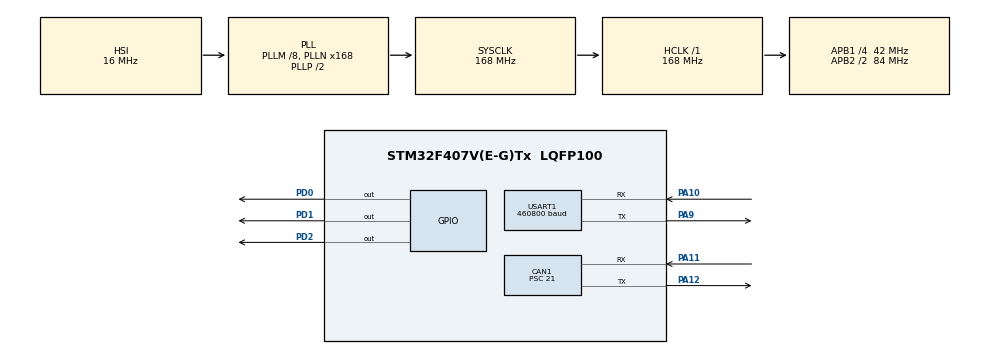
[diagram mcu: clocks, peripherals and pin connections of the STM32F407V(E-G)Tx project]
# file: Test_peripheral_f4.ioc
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CAN1.BS1=CAN_BS1_13TQ
CAN1.BS2=CAN_BS2_2TQ
CAN1.CalculateBaudRate=125000
CAN1.CalculateTimeBit=8000
CAN1.CalculateTimeQuantum=500.0
CAN1.Mode=CAN_MODE_NORMAL
CAN1.Prescaler=21
Mcu.Family=STM32F4
Mcu.Name=STM32F407V(E-G)Tx
Mcu.Package=LQFP100
NVIC.CAN1_RX0_IRQn=true\:0\:0\:false\:false\:true\:true\:true\:true
NVIC.CAN1_RX1_IRQn=true\:0\:0\:false\:false\:true\:true\:true\:true
NVIC.PriorityGroup=NVIC_PRIORITYGROUP_4
PA10.Mode=Asynchronous
PA10.Signal=USART1_RX
PA11.Mode=CAN_Activate
PA11.Signal=CAN1_RX
PA12.Mode=CAN_Activate
PA12.Signal=CAN1_TX
PA13.Mode=Serial_Wire
PA13.Signal=SYS_JTMS-SWDIO
PA14.Mode=Serial_Wire
PA14.Signal=SYS_JTCK-SWCLK
PA9.Mode=Asynchronous
PA9.Signal=USART1_TX
PD0.GPIO_Speed=GPIO_SPEED_FREQ_HIGH
PD0.Signal=GPIO_Output
PD1.GPIO_Speed=GPIO_SPEED_FREQ_HIGH
PD1.Signal=GPIO_Output
PD2.GPIO_Speed=GPIO_SPEED_FREQ_HIGH
PD2.Signal=GPIO_Output
PH0-OSC_IN.Mode=HSE-External-Oscillator
PH0-OSC_IN.Signal=RCC_OSC_IN
PH1-OSC_OUT.Mode=HSE-External-Oscillator
PH1-OSC_OUT.Signal=RCC_OSC_OUT
ProjectManager.HeapSize=0x200
ProjectManager.StackSize=0x400
ProjectManager.TargetToolchain=STM32CubeIDE
RCC.48MHZClocksFreq_Value=84000000
RCC.AHBFreq_Value=168000000
RCC.APB1CLKDivider=RCC_HCLK_DIV4
RCC.APB1Freq_Value=42000000
RCC.APB1TimFreq_Value=84000000
RCC.APB2CLKDivider=RCC_HCLK_DIV2
RCC.APB2Freq_Value=84000000
RCC.APB2TimFreq_Value=168000000
RCC.CortexFreq_Value=168000000
RCC.HCLKFreq_Value=168000000
RCC.HSE_VALUE=25000000
RCC.HSI_VALUE=16000000
RCC.LSE_VALUE=32768
RCC.PLLM=8
RCC.PLLN=168
RCC.SYSCLKFreq_VALUE=168000000
RCC.SYSCLKSource=RCC_SYSCLKSOURCE_PLLCLK
RCC.VCOOutputFreq_Value=336000000
USART1.BaudRate=460800
USART1.VirtualMode=VM_ASYNC
board=custom

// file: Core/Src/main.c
/* USER CODE BEGIN Header */
/**
  ******************************************************************************
  * @file           : main.c
  * @brief          : Main program body
  ******************************************************************************
  * @attention
  *
  * Copyright (c) 2025 STMicroelectronics.
  * All rights reserved.
  *
  * This software is licensed under terms that can be found in the LICENSE file
  * in the root directory of this software component.
  * If no LICENSE file comes with this software, it is provided AS-IS.
  *
  ******************************************************************************
  */
/* USER CODE END Header */
#include "main.h"

CAN_HandleTypeDef hcan1;

UART_HandleTypeDef huart1;

void SystemClock_Config(void);
static void MX_GPIO_Init(void);
static void MX_CAN1_Init(void);
static void MX_USART1_UART_Init(void);
/* USER CODE BEGIN PFP */
void Write_Input_IC_TEST(uint8_t data1, uint8_t data2, uint8_t data3);
/* USER CODE END PFP */

/* USER CODE BEGIN 0 */

CAN_TxHeaderTypeDef TxHeader;
CAN_RxHeaderTypeDef RxHeader;

uint8_t TxData[8];
uint8_t RxData[8];

uint32_t TxMailbox;

uint8_t ena = 0;
uint8_t RxCAn = 0;

/* USER CODE END 0 */

int main(void)
{

  /* MCU Configuration--------------------------------------------------------*/

  /* Reset of all peripherals, Initializes the Flash interface and the Systick. */
  HAL_Init();

  /* Configure the system clock */
  SystemClock_Config();

  /* Initialize all configured peripherals */
  MX_GPIO_Init();
  MX_CAN1_Init();
  MX_USART1_UART_Init();
  /* USER CODE BEGIN 2 */

  HAL_CAN_Start(&hcan1);

  // Active the notification
  HAL_CAN_ActivateNotification(&hcan1, CAN_IT_RX_FIFO1_MSG_PENDING);

  TxHeader.DLC = 2; // data length
  TxHeader.IDE = CAN_ID_STD;
  TxHeader.RTR = CAN_RTR_DATA;
  //TxHeader.StdId = 0x407; // ID of sender
  TxHeader.StdId = 0x407; // ID of sender

  // Data Transmit
  TxData[0] = 200;
  TxData[1] = 5;

  HAL_Delay(1000);
  HAL_CAN_AddTxMessage(&hcan1, &TxHeader, TxData, &TxMailbox);

  // Write_Input_IC_TEST(0x00,0x00,0x80);

  /* USER CODE END 2 */

  /* Infinite loop */
  while (1)
  {

    /* USER CODE BEGIN 3 */
	  HAL_CAN_GetRxMessage(&hcan1, CAN_RX_FIFO1, &RxHeader, RxData);
 	  if (RxData[0] != 0) {
		  TxData[0] = 1;
	  }
//	  if (RxCAn == 1) {
//		  TxData[0] = RxData[0] + 200;
//		  TxData[1] = RxData[1] + 5;
//		  // for(uint8_t i = 0; i < RxData[1]; i++) {
//			//   HAL_GPIO_TogglePin(GPIOD, GPIO_PIN_2);
//			//   HAL_Delay(RxData[0]);
//		  }

		  // TxData[0] = RxData[0];
		  // TxData[1] = RxData[1];
//		   HAL_Delay(2000);
//		   HAL_CAN_AddTxMessage(&hcan1, &TxHeader, TxData, &TxMailbox);
	  // }

  }
  /* USER CODE END 3 */
}

void SystemClock_Config(void)
{
  RCC_OscInitTypeDef RCC_OscInitStruct = {0};
  RCC_ClkInitTypeDef RCC_ClkInitStruct = {0};

  /** Configure the main internal regulator output voltage
  */
  __HAL_RCC_PWR_CLK_ENABLE();
  __HAL_PWR_VOLTAGESCALING_CONFIG(PWR_REGULATOR_VOLTAGE_SCALE1);

  /** Initializes the RCC Oscillators according to the specified parameters
  * in the RCC_OscInitTypeDef structure.
  */
  RCC_OscInitStruct.OscillatorType = RCC_OSCILLATORTYPE_HSI;
  RCC_OscInitStruct.HSIState = RCC_HSI_ON;
  RCC_OscInitStruct.HSICalibrationValue = RCC_HSICALIBRATION_DEFAULT;
  RCC_OscInitStruct.PLL.PLLState = RCC_PLL_ON;
  RCC_OscInitStruct.PLL.PLLSource = RCC_PLLSOURCE_HSI;
  RCC_OscInitStruct.PLL.PLLM = 8;
  RCC_OscInitStruct.PLL.PLLN = 168;
  RCC_OscInitStruct.PLL.PLLP = RCC_PLLP_DIV2;
  RCC_OscInitStruct.PLL.PLLQ = 4;
  if (HAL_RCC_OscConfig(&RCC_OscInitStruct) != HAL_OK)
  {
    Error_Handler();
  }

  /** Initializes the CPU, AHB and APB buses clocks
  */
  RCC_ClkInitStruct.ClockType = RCC_CLOCKTYPE_HCLK|RCC_CLOCKTYPE_SYSCLK
                              |RCC_CLOCKTYPE_PCLK1|RCC_CLOCKTYPE_PCLK2;
  RCC_ClkInitStruct.SYSCLKSource = RCC_SYSCLKSOURCE_PLLCLK;
  RCC_ClkInitStruct.AHBCLKDivider = RCC_SYSCLK_DIV1;
  RCC_ClkInitStruct.APB1CLKDivider = RCC_HCLK_DIV4;
  RCC_ClkInitStruct.APB2CLKDivider = RCC_HCLK_DIV2;

  if (HAL_RCC_ClockConfig(&RCC_ClkInitStruct, FLASH_LATENCY_5) != HAL_OK)
  {
    Error_Handler();
  }
}

static void MX_CAN1_Init(void)
{

  hcan1.Instance = CAN1;
  hcan1.Init.Prescaler = 21;
  hcan1.Init.Mode = CAN_MODE_NORMAL;
  hcan1.Init.SyncJumpWidth = CAN_SJW_1TQ;
  hcan1.Init.TimeSeg1 = CAN_BS1_13TQ;
  hcan1.Init.TimeSeg2 = CAN_BS2_2TQ;
  hcan1.Init.TimeTriggeredMode = DISABLE;
  hcan1.Init.AutoBusOff = DISABLE;
  hcan1.Init.AutoWakeUp = DISABLE;
  hcan1.Init.AutoRetransmission = DISABLE;
  hcan1.Init.ReceiveFifoLocked = DISABLE;
  hcan1.Init.TransmitFifoPriority = DISABLE;
  if (HAL_CAN_Init(&hcan1) != HAL_OK)
  {
    Error_Handler();
  }
  /* USER CODE BEGIN CAN1_Init 2 */

  CAN_FilterTypeDef canfilterconfig;

  // canfilterconfig.FilterBank             = 1;
  // canfilterconfig.FilterMode             = CAN_FILTERMODE_IDMASK;
  // canfilterconfig.FilterScale            = CAN_FILTERSCALE_32BIT;
  // canfilterconfig.FilterIdHigh           = 0x0000;
  // canfilterconfig.FilterIdLow            = 0x0000;
  // canfilterconfig.FilterMaskIdHigh       = 0x0000;
  // canfilterconfig.FilterMaskIdLow        = 0x0000;
  // canfilterconfig.FilterFIFOAssignment   = CAN_RX_FIFO1;
  // canfilterconfig.FilterActivation       = ENABLE;
  // canfilterconfig.SlaveStartFilterBank    = 14;  // for dual CAN, otherwise 14

  canfilterconfig.FilterActivation = CAN_FILTER_ENABLE;
  canfilterconfig.FilterBank = 5;  // which filter bank to use from the assigned ones
  canfilterconfig.FilterFIFOAssignment = CAN_FILTER_FIFO1;
  canfilterconfig.FilterIdHigh = 0;
  canfilterconfig.FilterIdLow = 0;
  canfilterconfig.FilterMaskIdHigh = 0;
  canfilterconfig.FilterMaskIdLow = 0;
  canfilterconfig.FilterMode = CAN_FILTERMODE_IDMASK;
  canfilterconfig.FilterScale = CAN_FILTERSCALE_32BIT;
  canfilterconfig.SlaveStartFilterBank = 14;

  HAL_CAN_ConfigFilter(&hcan1, &canfilterconfig);

  /* USER CODE END CAN1_Init 2 */

}

static void MX_USART1_UART_Init(void)
{

  huart1.Instance = USART1;
  huart1.Init.BaudRate = 460800;
  huart1.Init.WordLength = UART_WORDLENGTH_8B;
  huart1.Init.StopBits = UART_STOPBITS_1;
  huart1.Init.Parity = UART_PARITY_NONE;
  huart1.Init.Mode = UART_MODE_TX_RX;
  huart1.Init.HwFlowCtl = UART_HWCONTROL_NONE;
  huart1.Init.OverSampling = UART_OVERSAMPLING_16;
  if (HAL_UART_Init(&huart1) != HAL_OK)
  {
    Error_Handler();
  }

}

static void MX_GPIO_Init(void)
{
  GPIO_InitTypeDef GPIO_InitStruct = {0};

  /* GPIO Ports Clock Enable */
  __HAL_RCC_GPIOH_CLK_ENABLE();
  __HAL_RCC_GPIOA_CLK_ENABLE();
  __HAL_RCC_GPIOD_CLK_ENABLE();

  /*Configure GPIO pin Output Level */
  HAL_GPIO_WritePin(GPIOD, GPIO_PIN_0|GPIO_PIN_1|GPIO_PIN_2, GPIO_PIN_RESET);

  /*Configure GPIO pins : PD0 PD1 PD2 */
  GPIO_InitStruct.Pin = GPIO_PIN_0|GPIO_PIN_1|GPIO_PIN_2;
  GPIO_InitStruct.Mode = GPIO_MODE_OUTPUT_PP;
  GPIO_InitStruct.Pull = GPIO_NOPULL;
  GPIO_InitStruct.Speed = GPIO_SPEED_FREQ_HIGH;
  HAL_GPIO_Init(GPIOD, &GPIO_InitStruct);

}

/* USER CODE BEGIN 4 */

void HAL_CAN_RxFifo1MsgPendingCallback(CAN_HandleTypeDef *hcan) {
	HAL_CAN_GetRxMessage(hcan, CAN_RX_FIFO1, &RxHeader, RxData);
}

void shift_out(uint8_t data)
{
  for(uint8_t i =0; i < 8; i++ )
  {
	  HAL_GPIO_WritePin(GPIOD,GPIO_PIN_2,GPIO_PIN_RESET);   // Clock LOW
    HAL_Delay(1);
	  // Data
    HAL_GPIO_WritePin(GPIOD,GPIO_PIN_0,(data >> i) & 0x01);
    HAL_GPIO_WritePin(GPIOD,GPIO_PIN_2,GPIO_PIN_SET);   // Clock HIGH
    HAL_Delay(1);
  }
}

void Write_data(uint8_t data) {
  // Enable Latch
  HAL_GPIO_WritePin(GPIOD,GPIO_PIN_1,GPIO_PIN_RESET);
  HAL_Delay(1);
  shift_out(data);
	HAL_GPIO_WritePin(GPIOD,GPIO_PIN_1,GPIO_PIN_SET);
}

void Write_Input_IC_TEST(uint8_t data1, uint8_t data2, uint8_t data3) {
  // Enable Latch
  HAL_GPIO_WritePin(GPIOD,GPIO_PIN_1,GPIO_PIN_RESET);
  HAL_Delay(1);
  shift_out(data1);
  HAL_Delay(1);
  shift_out(data2);
  HAL_Delay(1);
	shift_out(data3);
	HAL_GPIO_WritePin(GPIOD,GPIO_PIN_1,GPIO_PIN_SET);
	HAL_Delay(1);

}

/* USER CODE END 4 */

void Error_Handler(void)
{
  __disable_irq();
  while (1)
  {
  }
}
